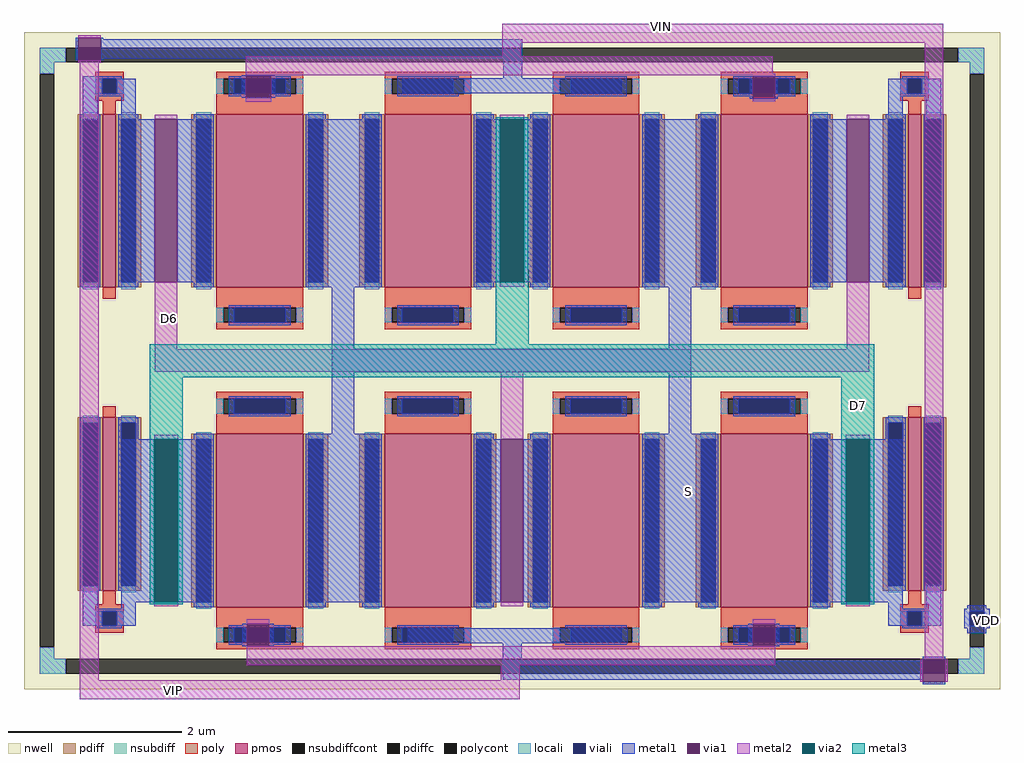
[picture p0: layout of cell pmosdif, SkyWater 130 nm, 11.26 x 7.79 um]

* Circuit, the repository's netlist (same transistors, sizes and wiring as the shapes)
* NGSPICE file created from pmosdif.ext - technology: sky130A

.subckt sky130_fd_pr__pfet_01v8_S56997 a_n100_n297# a_100_n200# w_n194_n300# a_n158_n200#
X0 a_100_n200# a_n100_n297# a_n158_n200# w_n194_n300# sky130_fd_pr__pfet_01v8 ad=0.58 pd=4.58 as=0.58 ps=4.58 w=2 l=1
.ends

.subckt sky130_fd_pr__pfet_01v8_L4T9AL a_n73_n164# a_n33_n261# a_15_n164# w_n109_n264#
X0 a_15_n164# a_n33_n261# a_n73_n164# w_n109_n264# sky130_fd_pr__pfet_01v8 ad=0.58 pd=4.58 as=0.58 ps=4.58 w=2 l=0.15
.ends

.subckt sky130_fd_pr__pfet_01v8_M4T9AN a_n33_195# a_n73_n236# w_n109_n298# a_15_n236#
X0 a_15_n236# a_n33_195# a_n73_n236# w_n109_n298# sky130_fd_pr__pfet_01v8 ad=0.58 pd=4.58 as=0.58 ps=4.58 w=2 l=0.15
.ends

.subckt pmosdif D7 VIN VIP VDD S D6
Xsky130_fd_pr__pfet_01v8_S56997_2 VIP D7 VDD S sky130_fd_pr__pfet_01v8_S56997
Xsky130_fd_pr__pfet_01v8_S56997_3 VIP S VDD D7 sky130_fd_pr__pfet_01v8_S56997
Xsky130_fd_pr__pfet_01v8_S56997_4 VIN S VDD D6 sky130_fd_pr__pfet_01v8_S56997
Xsky130_fd_pr__pfet_01v8_S56997_5 VIP S VDD D7 sky130_fd_pr__pfet_01v8_S56997
Xsky130_fd_pr__pfet_01v8_S56997_7 VIN S VDD D6 sky130_fd_pr__pfet_01v8_S56997
Xsky130_fd_pr__pfet_01v8_S56997_6 VIN D6 VDD S sky130_fd_pr__pfet_01v8_S56997
Xsky130_fd_pr__pfet_01v8_L4T9AL_0 D7 D7 D7 VDD sky130_fd_pr__pfet_01v8_L4T9AL
Xsky130_fd_pr__pfet_01v8_L4T9AL_1 D7 D7 D7 VDD sky130_fd_pr__pfet_01v8_L4T9AL
Xsky130_fd_pr__pfet_01v8_M4T9AN_0 D6 D6 VDD D6 sky130_fd_pr__pfet_01v8_M4T9AN
Xsky130_fd_pr__pfet_01v8_M4T9AN_1 D6 D6 VDD D6 sky130_fd_pr__pfet_01v8_M4T9AN
Xsky130_fd_pr__pfet_01v8_S56997_0 VIN D6 VDD S sky130_fd_pr__pfet_01v8_S56997
Xsky130_fd_pr__pfet_01v8_S56997_1 VIP D7 VDD S sky130_fd_pr__pfet_01v8_S56997
.ends

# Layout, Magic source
magic
tech sky130A
magscale 1 2
<< nwell >>
rect -342 -811 1910 705
<< nsubdiff >>
rect -306 635 -246 669
rect 1814 635 1874 669
rect -306 609 -272 635
rect -306 -741 -272 -714
rect 1840 609 1874 635
rect 1840 -741 1874 -714
rect -306 -775 -246 -741
rect 1814 -775 1874 -741
<< nsubdiffcont >>
rect -246 635 1814 669
rect -306 -714 -272 609
rect 1840 -714 1874 609
rect -246 -775 1814 -741
<< locali >>
rect -306 635 -246 669
rect 1814 635 1874 669
rect -306 609 -272 635
rect -306 -741 -272 -714
rect 1840 609 1874 635
rect 1840 -741 1874 -714
rect -306 -775 -246 -741
rect 1814 -775 1874 -741
<< viali >>
rect 1840 -665 1874 -631
<< metal1 >>
rect -223 640 -217 692
rect -165 688 -159 692
rect -165 644 808 688
rect -165 640 -159 644
rect -206 502 -172 603
rect -118 512 -84 597
rect 160 554 170 606
rect 228 554 238 606
rect 764 598 808 644
rect 530 564 1038 598
rect 1333 551 1339 603
rect 1391 551 1397 603
rect 1652 508 1686 597
rect 1740 508 1774 597
rect -118 128 -40 504
rect 12 128 90 504
rect 314 128 478 504
rect 702 128 758 504
rect 810 128 866 504
rect 1090 128 1254 504
rect 1478 128 1556 504
rect 1608 128 1686 504
rect 340 116 448 128
rect 1118 116 1228 128
rect 368 -26 420 116
rect 1146 -26 1198 116
rect 368 -80 1198 -26
rect 368 -222 420 -80
rect 1146 -222 1198 -80
rect 338 -234 446 -222
rect 1118 -234 1228 -222
rect -206 -665 -172 -574
rect -118 -610 -40 -234
rect 12 -610 90 -234
rect 314 -610 478 -234
rect 702 -610 758 -234
rect 810 -610 866 -234
rect 1090 -610 1254 -234
rect 1478 -610 1556 -234
rect 1608 -610 1686 -234
rect -118 -665 -84 -610
rect 162 -712 172 -660
rect 224 -712 234 -660
rect 543 -705 1051 -671
rect 763 -746 806 -705
rect 1329 -712 1339 -660
rect 1391 -712 1401 -660
rect 1652 -665 1686 -610
rect 1740 -665 1774 -570
rect 1834 -625 1878 -617
rect 1828 -631 1886 -625
rect 1828 -665 1840 -631
rect 1874 -665 1886 -631
rect 1828 -671 1886 -665
rect 1834 -682 1878 -671
rect 1732 -742 1784 -736
rect 763 -789 1732 -746
rect 1732 -800 1784 -794
<< via1 >>
rect -217 640 -165 692
rect 170 554 228 606
rect 1339 551 1391 603
rect -40 128 12 504
rect 758 128 810 504
rect 1556 128 1608 504
rect -40 -610 12 -234
rect 758 -610 810 -234
rect 1556 -610 1608 -234
rect 172 -712 224 -660
rect 1339 -712 1391 -660
rect 1732 -794 1784 -742
<< metal2 >>
rect -217 692 -165 698
rect 761 681 1779 724
rect 761 649 804 681
rect -217 634 -165 640
rect -213 -790 -169 634
rect 170 609 1386 649
rect 170 606 1391 609
rect 170 544 228 554
rect 1339 603 1391 606
rect 1339 545 1391 551
rect -40 504 12 514
rect -40 -27 12 128
rect 756 504 812 514
rect 756 118 812 128
rect 1556 504 1608 514
rect 1556 -27 1608 128
rect -40 -79 1608 -27
rect -42 -234 14 -224
rect -42 -620 14 -610
rect 758 -234 810 -79
rect 758 -620 810 -610
rect 1554 -234 1610 -224
rect 1554 -620 1610 -610
rect 172 -660 224 -650
rect 1339 -660 1391 -650
rect 172 -756 1391 -712
rect 1736 -742 1779 681
rect 758 -790 802 -756
rect -213 -834 802 -790
rect 1726 -794 1732 -742
rect 1784 -794 1790 -742
<< via2 >>
rect 756 128 758 504
rect 758 128 810 504
rect 810 128 812 504
rect -42 -610 -40 -234
rect -40 -610 12 -234
rect 12 -610 14 -234
rect 1554 -610 1556 -234
rect 1556 -610 1608 -234
rect 1608 -610 1610 -234
<< metal3 >>
rect 746 504 822 509
rect 746 128 756 504
rect 812 155 822 504
rect 812 128 823 155
rect 746 -15 823 128
rect -52 -91 1620 -15
rect -52 -234 24 -91
rect -52 -610 -42 -234
rect 14 -610 24 -234
rect -52 -615 24 -610
rect 1544 -234 1620 -91
rect 1544 -610 1554 -234
rect 1610 -610 1620 -234
rect 1544 -615 1620 -610
use sky130_fd_pr__pfet_01v8_L4T9AL  sky130_fd_pr__pfet_01v8_L4T9AL_0
transform 1 0 1713 0 1 -420
box -109 -264 109 298
use sky130_fd_pr__pfet_01v8_L4T9AL  sky130_fd_pr__pfet_01v8_L4T9AL_1
transform 1 0 -145 0 1 -420
box -109 -264 109 298
use sky130_fd_pr__pfet_01v8_M4T9AN  sky130_fd_pr__pfet_01v8_M4T9AN_0
transform 1 0 -145 0 1 352
box -109 -298 109 264
use sky130_fd_pr__pfet_01v8_M4T9AN  sky130_fd_pr__pfet_01v8_M4T9AN_1
transform 1 0 1713 0 1 352
box -109 -298 109 264
use sky130_fd_pr__pfet_01v8_S56997  sky130_fd_pr__pfet_01v8_S56997_0
transform 1 0 1366 0 1 316
box -194 -300 194 300
use sky130_fd_pr__pfet_01v8_S56997  sky130_fd_pr__pfet_01v8_S56997_1
transform 1 0 1366 0 1 -422
box -194 -300 194 300
use sky130_fd_pr__pfet_01v8_S56997  sky130_fd_pr__pfet_01v8_S56997_2
transform 1 0 590 0 1 316
box -194 -300 194 300
use sky130_fd_pr__pfet_01v8_S56997  sky130_fd_pr__pfet_01v8_S56997_3
transform 1 0 978 0 1 316
box -194 -300 194 300
use sky130_fd_pr__pfet_01v8_S56997  sky130_fd_pr__pfet_01v8_S56997_4
transform 1 0 202 0 1 316
box -194 -300 194 300
use sky130_fd_pr__pfet_01v8_S56997  sky130_fd_pr__pfet_01v8_S56997_5
transform 1 0 202 0 1 -422
box -194 -300 194 300
use sky130_fd_pr__pfet_01v8_S56997  sky130_fd_pr__pfet_01v8_S56997_6
transform 1 0 590 0 1 -422
box -194 -300 194 300
use sky130_fd_pr__pfet_01v8_S56997  sky130_fd_pr__pfet_01v8_S56997_7
transform 1 0 978 0 1 -422
box -194 -300 194 300
<< labels >>
flabel metal3 1583 -156 1583 -156 0 FreeSans 800 0 0 0 D7
port 0 nsew
flabel metal2 1130 717 1130 717 0 FreeSans 800 0 0 0 VIN
port 1 nsew
flabel metal2 4 -813 4 -813 0 FreeSans 800 0 0 0 VIP
port 2 nsew
flabel metal1 1879 -652 1879 -652 0 FreeSans 800 0 0 0 VDD
port 3 nsew
flabel metal1 1191 -354 1191 -354 0 FreeSans 800 0 0 0 S
port 4 nsew
flabel metal2 -6 45 -6 45 0 FreeSans 800 0 0 0 D6
port 5 nsew
<< end >>

# cell sky130_fd_pr__pfet_01v8_L4T9AL: kit device sky130_fd_pr__pfet_01v8, w 2 l 0.15 m 1 nf 1 diffcov 100 polycov 100 guard 0 glc 1 grc 1 gtc 1 gbc 1 tbcov 100 rlcov 100 topc 0 botc 1 poverlap 0 doverlap 1 lmin 0.15 wmin 0.42 compatible {sky130_fd_pr__pfet_01v8 sky130_fd_pr__pfet_01v8_lvt sky130_fd_pr__pfet_01v8_hvt sky130_fd_pr__pfet_g5v0d10v5} full_metal 1 viasrc 100 viadrn 100 viagate 100 viagb 0 viagr 0 viagl 0 viagt 0

# cell sky130_fd_pr__pfet_01v8_M4T9AN: kit device sky130_fd_pr__pfet_01v8, w 2 l 0.15 m 1 nf 1 diffcov 100 polycov 100 guard 0 glc 1 grc 1 gtc 1 gbc 1 tbcov 100 rlcov 100 topc 1 botc 0 poverlap 0 doverlap 1 lmin 0.15 wmin 0.42 compatible {sky130_fd_pr__pfet_01v8 sky130_fd_pr__pfet_01v8_lvt sky130_fd_pr__pfet_01v8_hvt sky130_fd_pr__pfet_g5v0d10v5} full_metal 1 viasrc 100 viadrn 100 viagate 100 viagb 0 viagr 0 viagl 0 viagt 0

# cell sky130_fd_pr__pfet_01v8_S56997: kit device sky130_fd_pr__pfet_01v8, w 2 l 1 m 1 nf 1 diffcov 100 polycov 100 guard 0 glc 1 grc 1 gtc 1 gbc 1 tbcov 100 rlcov 100 topc 1 botc 1 poverlap 0 doverlap 1 lmin 0.15 wmin 0.42 compatible {sky130_fd_pr__pfet_01v8 sky130_fd_pr__pfet_01v8_lvt sky130_fd_pr__pfet_01v8_hvt sky130_fd_pr__pfet_g5v0d10v5} full_metal 1 viasrc 100 viadrn 100 viagate 70 viagb 0 viagr 0 viagl 0 viagt 0
